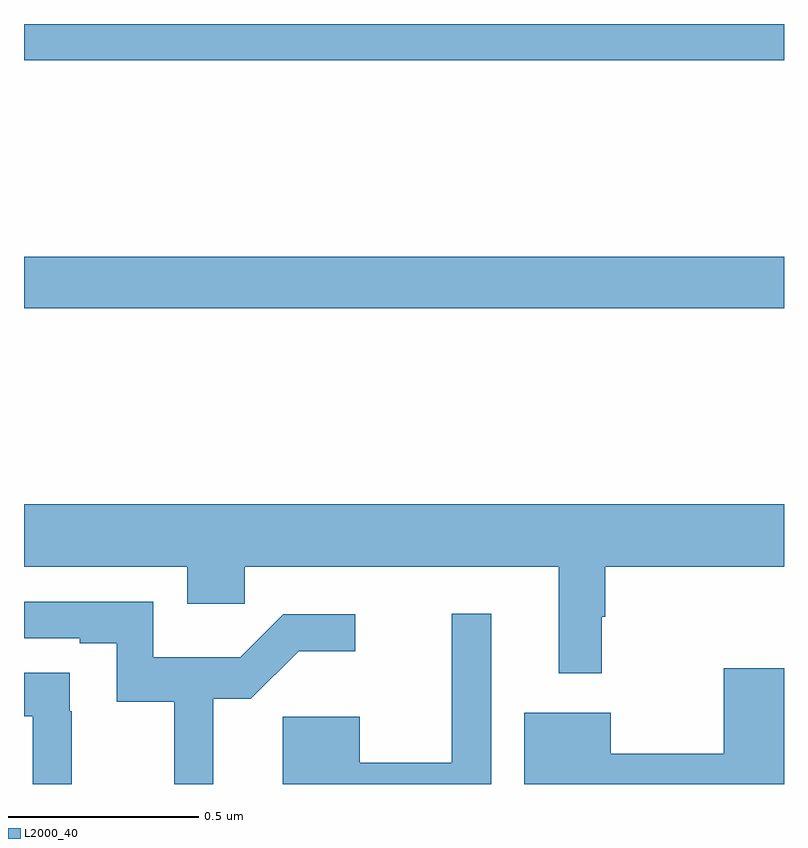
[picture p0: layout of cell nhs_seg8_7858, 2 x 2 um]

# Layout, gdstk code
import gdstk
lib = gdstk.Library(unit=1e-6, precision=1e-09)
def R(c, l, rs):  # rectangles x0, y0, x1, y1
    for r in rs: c.add(gdstk.rectangle(r[:2], r[2:], *l))
def P(c, l, *ps):  # polygons
    for p in ps: c.add(gdstk.Polygon(p, *l))
L2000_40 = (2000, 40)

nhs_seg8_7858 = lib.new_cell('nhs_seg8_7858')
R(nhs_seg8_7858, L2000_40, [(215,1145.152,217,1145.288), (215,1145.804,217,1145.9)])
P(nhs_seg8_7858, L2000_40, [(216.521,1144.34),(216.529,1144.34),(216.529,1144.472),(217,1144.472),(217,1144.636),(215,1144.636),(215,1144.472),(215.429,1144.472),(215.429,1144.374),(215.581,1144.374),(215.581,1144.472),(216.407,1144.472),(216.407,1144.191),(216.521,1144.191)],
  [(215.498,1144.125),(215.597,1144.125),(215.723,1144.25),(215.872,1144.25),(215.872,1144.347),(215.682,1144.347),(215.569,1144.234),(215.34,1144.234),(215.34,1144.38),(215,1144.38),(215,1144.284),(215.147,1144.284),(215.147,1144.27),(215.244,1144.27),(215.244,1144.117),(215.395,1144.117),(215.395,1143.9),(215.498,1143.9)],
  [(216.229,1144.348),(216.125,1144.348),(216.125,1143.956),(215.884,1143.956),(215.884,1144.077),(215.681,1144.077),(215.681,1143.9),(216.229,1143.9)],
  [(217,1144.204),(216.841,1144.204),(216.841,1143.98),(216.544,1143.98),(216.544,1144.087),(216.317,1144.087),(216.317,1143.9),(217,1143.9)],
  [(215.126,1144.091),(215.12,1144.091),(215.12,1144.193),(215,1144.193),(215,1144.078),(215.023,1144.078),(215.023,1143.9),(215.126,1143.9)])

lib.write_gds('nhs_seg8_7858.gds')
